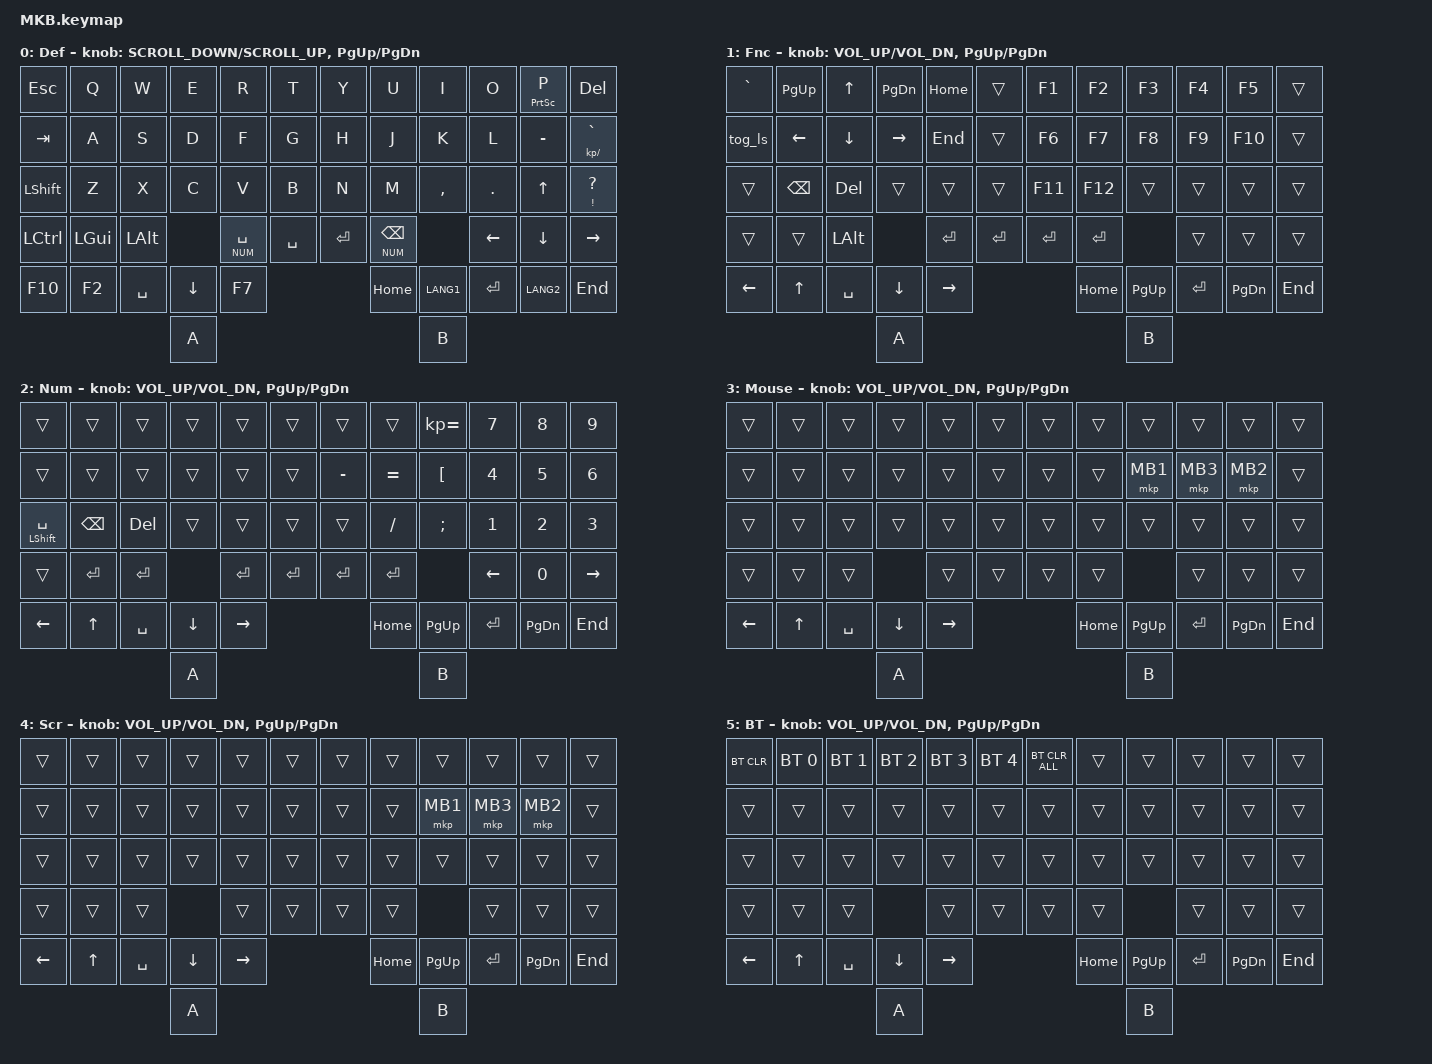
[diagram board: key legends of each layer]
// #include <layout_shift.dtsi>

#include <layout_shift_kp_override.dtsi>
#include <behaviors.dtsi>
#include <dt-bindings/zmk/bt.h>
#include <dt-bindings/zmk/keys.h>
#include <dt-bindings/zmk/pointing.h>

#define DEF 0
#define FUNC 1
#define NUM 2
#define MOUSE 3
#define SCROLL 4
#define BT 5

&mt {
    flavor = "balanced";
    tapping-term-ms = <280>;
    quick-tap-ms = <175>;
    require-prior-idle-ms = <150>;
};

/ {
    keymap {
        compatible = "zmk,keymap";

        default_layer {
            label = "Def";
            bindings = <
&kp ESC    &kp Q     &kp W      &kp E     &kp R          &kp T          &kp Y      &kp U              &kp I      &kp O      &mt PRINTSCREEN P  &kp DELETE
&kp TAB    &kp A     &kp S      &kp D     &kp F          &kp G          &kp H      &kp J              &kp K      &kp L      &kp MINUS          &mt KP_SLASH GRAVE
&kp LSHFT  &kp Z     &kp X      &kp C     &kp V          &kp B          &kp N      &kp M              &kp COMMA  &kp DOT    &kp UP             &mt EXCLAMATION QUESTION
&kp LCTRL  &kp LGUI  &kp LALT             &lt NUM SPACE  &kp SPACE      &kp ENTER  &lt NUM BACKSPACE             &kp LEFT   &kp DOWN           &kp RIGHT
&kp F10    &kp F2    &kp SPACE  &kp DOWN  &kp F7                                   &kp HOME           &kp LANG1  &kp ENTER  &kp LANG2          &kp END
                                &kp A                                                                 &kp B
            >;

            sensor-bindings =
                <&inc_dec_kp K_SCROLL_DOWN K_SCROLL_UP>,
                <&inc_dec_kp PG_UP PG_DN>;
        };

        function_layer {
            label = "Fnc";
            bindings = <
&kp GRAVE  &kp PG_UP  &kp UP     &kp PG_DN  &kp HOME   &trans         &kp F1     &kp F2     &kp F3     &kp F4     &kp F5     &trans
&tog_ls    &kp LEFT   &kp DOWN   &kp RIGHT  &kp END    &trans         &kp F6     &kp F7     &kp F8     &kp F9     &kp F10    &trans
&trans     &kp BKSP   &kp DEL    &trans     &trans     &trans         &kp F11    &kp F12    &trans     &trans     &trans     &trans
&trans     &trans     &kp LALT              &kp ENTER  &kp ENTER      &kp ENTER  &kp ENTER             &trans     &trans     &trans
&kp LEFT   &kp UP     &kp SPACE  &kp DOWN   &kp RIGHT                            &kp HOME   &kp PG_UP  &kp ENTER  &kp PG_DN  &kp END
                                 &kp A                                                      &kp B
            >;

            sensor-bindings = <&inc_dec_kp C_VOL_UP C_VOL_DN &inc_dec_kp PG_UP PG_DN>;
        };

        num_layer {
            label = "Num";
            bindings = <
&trans           &trans         &trans     &trans    &trans     &trans         &trans     &trans     &kp KP_EQUAL  &kp N7     &kp N8     &kp N9
&trans           &trans         &trans     &trans    &trans     &trans         &kp MINUS  &kp EQUAL  &kp LBKT      &kp N4     &kp N5     &kp N6
&mt LSHFT SPACE  &kp BACKSPACE  &kp DEL    &trans    &trans     &trans         &trans     &kp FSLH   &kp SEMI      &kp N1     &kp N2     &kp N3
&trans           &kp ENTER      &kp ENTER            &kp ENTER  &kp ENTER      &kp ENTER  &kp ENTER                &kp LEFT   &kp N0     &kp RIGHT
&kp LEFT         &kp UP         &kp SPACE  &kp DOWN  &kp RIGHT                            &kp HOME   &kp PG_UP     &kp ENTER  &kp PG_DN  &kp END
                                           &kp A                                                     &kp B
            >;

            sensor-bindings = <&inc_dec_kp C_VOL_UP C_VOL_DN &inc_dec_kp PG_UP PG_DN>;
        };

        mouse_layer {
            label = "Mouse";
            bindings = <
&trans    &trans  &trans     &trans    &trans     &trans      &trans  &trans    &trans     &trans     &trans     &trans
&trans    &trans  &trans     &trans    &trans     &trans      &trans  &trans    &mkp MB1   &mkp MB3   &mkp MB2   &trans
&trans    &trans  &trans     &trans    &trans     &trans      &trans  &trans    &trans     &trans     &trans     &trans
&trans    &trans  &trans               &trans     &trans      &trans  &trans               &trans     &trans     &trans
&kp LEFT  &kp UP  &kp SPACE  &kp DOWN  &kp RIGHT                      &kp HOME  &kp PG_UP  &kp ENTER  &kp PG_DN  &kp END
                             &kp A                                              &kp B
            >;

            sensor-bindings = <&inc_dec_kp C_VOL_UP C_VOL_DN &inc_dec_kp PG_UP PG_DN>;
        };

        scroll_layer {
            label = "Scr";
            bindings = <
&trans    &trans  &trans     &trans    &trans     &trans      &trans  &trans    &trans     &trans     &trans     &trans
&trans    &trans  &trans     &trans    &trans     &trans      &trans  &trans    &mkp MB1   &mkp MB3   &mkp MB2   &trans
&trans    &trans  &trans     &trans    &trans     &trans      &trans  &trans    &trans     &trans     &trans     &trans
&trans    &trans  &trans               &trans     &trans      &trans  &trans               &trans     &trans     &trans
&kp LEFT  &kp UP  &kp SPACE  &kp DOWN  &kp RIGHT                      &kp HOME  &kp PG_UP  &kp ENTER  &kp PG_DN  &kp END
                             &kp A                                              &kp B
            >;

            sensor-bindings = <&inc_dec_kp C_VOL_UP C_VOL_DN &inc_dec_kp PG_UP PG_DN>;
        };

        bt_layer {
            label = "BT";
            bindings = <
&bt BT_CLR  &bt BT_SEL 0  &bt BT_SEL 1  &bt BT_SEL 2  &bt BT_SEL 3  &bt BT_SEL 4      &bt BT_CLR_ALL  &trans    &trans     &trans     &trans     &trans
&trans      &trans        &trans        &trans        &trans        &trans            &trans          &trans    &trans     &trans     &trans     &trans
&trans      &trans        &trans        &trans        &trans        &trans            &trans          &trans    &trans     &trans     &trans     &trans
&trans      &trans        &trans                      &trans        &trans            &trans          &trans               &trans     &trans     &trans
&kp LEFT    &kp UP        &kp SPACE     &kp DOWN      &kp RIGHT                                       &kp HOME  &kp PG_UP  &kp ENTER  &kp PG_DN  &kp END
                                        &kp A                                                                   &kp B
            >;

            sensor-bindings = <&inc_dec_kp C_VOL_UP C_VOL_DN &inc_dec_kp PG_UP PG_DN>;
        };
    };
};
